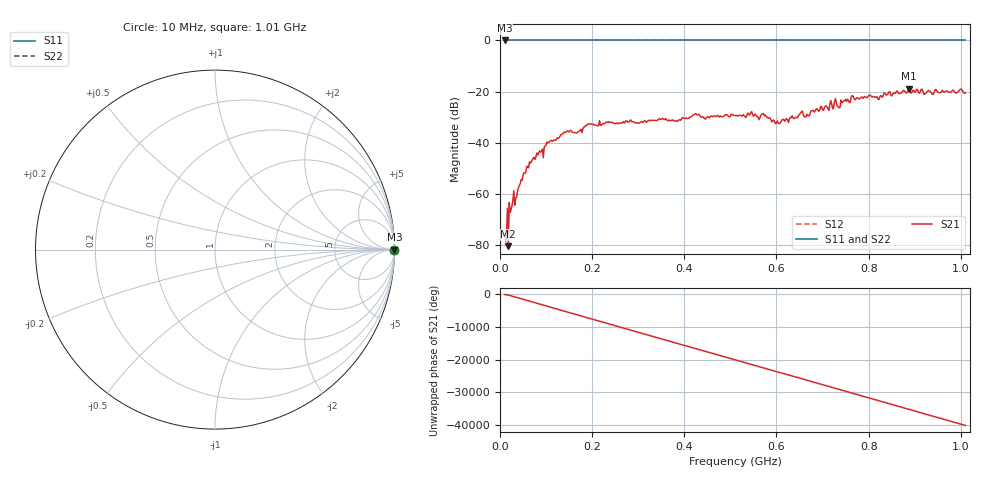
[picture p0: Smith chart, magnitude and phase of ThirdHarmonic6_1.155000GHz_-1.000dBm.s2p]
! 8/16/2025 11:31:09 AM
! C:\ANRITSUVNA\TEMP\TEMP.S2P
! CHANNEL.1
! TR.MEASUREMENT
! RAW.DATA
! RF.CORRECTION.OFF
! AVERAGING.OFF
! IF.BANDWIDTH: 5KHZ
! SWEEPTYPE:  FREQ.SWEEP(Linear)
! Reference Plane Port Info
! PORT:  PORT1  PORT2
! DISTANCE:  0  m  0  m
! TIME:  0  s  0  s
! PHASE.OFFSET:  0  deg.  0  deg.
! LOSS:  0  dB  0  dB
! REF.LOSS:  0  dB  0  dB
! REF.FREQ:  0  Hz  0  Hz
! Power Info
! POWER:  -20  dBm  -20  dBm
! EFF.POWER:  -20  dBm  -20  dBm
! SOURCE.ATTEN:  0  dB  0  dB
! TEST.ATTEN:  0  dB  0  dB
# GHZ S RI R 50.0
! FREQ.GHZ  S11RE  S11IM  S21RE  S21IM  S12RE  S12IM  S22RE  S22IM
!; PortSelection: Port_12
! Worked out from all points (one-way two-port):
!   501 points, 10 MHz to 1.01 GHz, reference 50 ohm
!   highest |S21| = -18.91 dB at 888 MHz (marker M1); lowest = -80.5 dB at 18 MHz (marker M2)
!   lowest |S11| = 0.0 dB at 10 MHz (marker M3)
!   |S11| at or under -10 dB: nowhere
!   |S22| runs from 0.0 to 0.0 dB; largest |S21 - S12| = 1.1
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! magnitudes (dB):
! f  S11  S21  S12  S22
! 10 MHz  0.0  -75.9  0.0  0.0
! 12 MHz  0.0  -78.5  0.0  0.0
! 14 MHz  0.0  -78.1  0.0  0.0
! 18 MHz  0.0  -80.5  0.0  0.0
! 22 MHz  0.0  -67.2  0.0  0.0
! 24 MHz  0.0  -66.2  0.0  0.0
! 68 MHz  0.0  -47.4  0.0  0.0
! 106 MHz  0.0  -39.8  0.0  0.0
! 142 MHz  0.0  -36.0  0.0  0.0
! 178 MHz  0.0  -36.0  0.0  0.0
! 194 MHz  0.0  -32.7  0.0  0.0
! 344 MHz  0.0  -30.9  0.0  0.0
! 510 MHz  0.0  -29.3  0.0  0.0
! 572 MHz  0.0  -28.6  0.0  0.0
! 602 MHz  0.0  -31.5  0.0  0.0
! 678 MHz  0.0  -27.4  0.0  0.0
! 728 MHz  0.0  -22.8  0.0  0.0
! 734 MHz  0.0  -25.9  0.0  0.0
! 766 MHz  0.0  -21.7  0.0  0.0
! 844 MHz  0.0  -20.2  0.0  0.0
! 888 MHz  0.0  -18.9  0.0  0.0
! 1.01 GHz  0.0  -20.5  0.0  0.0
